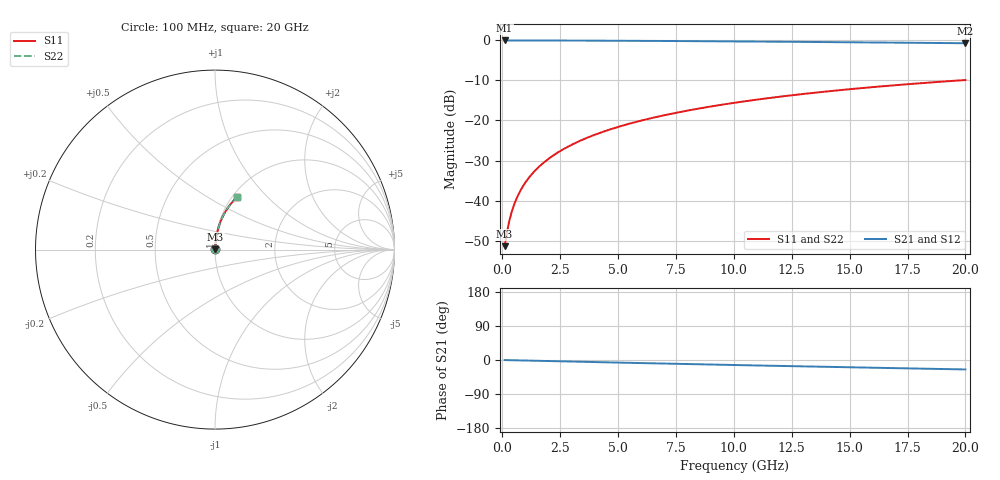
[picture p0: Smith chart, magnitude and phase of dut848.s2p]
! Touchstone file exported from HFSS 2024.1.0
!  File:  C:/UserFiles/LocalFiles/RDL_TSV_Batchsim/temp_RDL_top_848_1779855566.aedt
!  Generated:  12:21:51 PM May 27, 2026
!  Design:  RDL_top
!  Project:  temp_RDL_top_848_1779855566
!  Setup:  Setup1
!  Solution:  Sweep
! Variables:
!  dtsv = 10.80580581um
!  hbump = 3um
!  htsv = 97.14um
!  ldown = 100um
!  lrdl = 264.74um
!  p = 40
!  p1 = 56.59um
!  rhole = 1um
!  t = 450um
!  tdown = 3.915915916um
!  trdl = 3.76um
!  wdown = 15.38538539um
!  wrdl = 12.73um
# GHz S MA R 50.000000
! Terminal data exported
! Port[1] = Box2_T1
! Port[2] = Box2_T2
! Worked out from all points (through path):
!   200 points, 100 MHz to 20 GHz, reference 50 ohm
!   highest |S21| = -0.02 dB at 100 MHz (marker M1); lowest = -0.7 dB at 20 GHz (marker M2)
!   group delay of S21, straight-line fit = 3.45 ps
!   lowest |S11| = -51.4 dB at 100 MHz (marker M3), VSWR 1.01, Z = 50.2 + j0.172 ohm
!   |S11| at or under -10 dB: start of sweep to 19.74 GHz
!   |S22| runs from -51.4 to -9.9 dB; largest |S21 - S12| = 4.7e-15
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0.1  0.002699 39.3  0.9979 -0.1  0.9979 -0.1  0.002699 39.3
! Gamma 0 0 0 0
! Port Impedance 50 0 50 0
0.2  0.004017 58.1  0.9979 -0.3  0.9979 -0.3  0.004017 58.1
0.3  0.005539 66.9  0.9978 -0.4  0.9978 -0.4  0.005539 66.9
0.4  0.007123 71.7  0.9978 -0.6  0.9978 -0.6  0.007123 71.7
0.5  0.00873 74.7  0.9977 -0.7  0.9977 -0.7  0.00873 74.7
0.6  0.01035 76.8  0.9976 -0.8  0.9976 -0.8  0.01035 76.8
0.8  0.0136 79.5  0.9975 -1.1  0.9975 -1.1  0.0136 79.5
1.1  0.0185 81.6  0.9972 -1.5  0.9972 -1.5  0.0185 81.6
1.5  0.02506 83.1  0.9969 -2.1  0.9969 -2.1  0.02506 83.1
1.8  0.03 83.6  0.9965 -2.5  0.9965 -2.5  0.03 83.6
2.1  0.03496 84.0  0.9961 -2.9  0.9961 -2.9  0.03496 84.0
2.7  0.04488 84.2  0.9952 -3.7  0.9952 -3.7  0.04488 84.2
3.5  0.05814 84.1  0.9936 -4.8  0.9936 -4.8  0.05814 84.1
4.2  0.06977 83.7  0.9919 -5.8  0.9919 -5.8  0.06977 83.7
5  0.08307 83.2  0.9897 -6.8  0.9897 -6.8  0.08307 83.2
5.9  0.09804 82.4  0.987 -8.0  0.987 -8.0  0.09805 82.4
6.8  0.113 81.6  0.9839 -9.2  0.9839 -9.2  0.113 81.6
8.3  0.1379 80.1  0.9783 -11.1  0.9783 -11.1  0.1379 80.1
10.1  0.1675 78.2  0.9709 -13.3  0.9709 -13.3  0.1675 78.2
13.4  0.2207 74.5  0.9559 -17.3  0.9559 -17.3  0.2207 74.5
16.7  0.2717 70.7  0.9392 -21.2  0.9392 -21.2  0.2717 70.7
20  0.32 67.0  0.9212 -24.9  0.9212 -24.9  0.32 67.0
